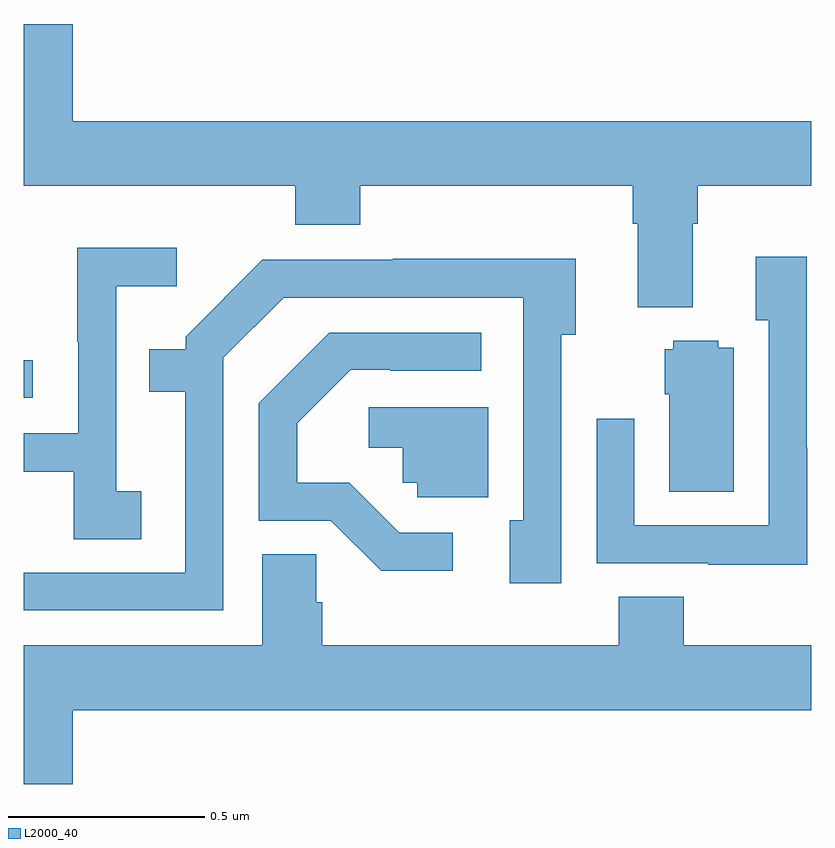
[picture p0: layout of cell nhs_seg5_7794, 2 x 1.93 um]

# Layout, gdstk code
import gdstk
lib = gdstk.Library(unit=1e-6, precision=1e-09)
def R(c, l, rs):  # rectangles x0, y0, x1, y1
    for r in rs: c.add(gdstk.rectangle(r[:2], r[2:], *l))
def P(c, l, *ps):  # polygons
    for p in ps: c.add(gdstk.Polygon(p, *l))
L2000_40 = (2000, 40)

nhs_seg5_7794 = lib.new_cell('nhs_seg5_7794')
R(nhs_seg5_7794, L2000_40, [(213,894.849,213.022,894.945)])
P(nhs_seg5_7794, L2000_40, [(214.699,895.292),(214.712,895.292),(214.712,895.388),(215,895.388),(215,895.552),(213.124,895.552),(213.124,895.799),(213,895.799),(213,895.388),(213.689,895.388),(213.689,895.289),(213.854,895.289),(213.854,895.388),(214.547,895.388),(214.547,895.292),(214.559,895.292),(214.559,895.079),(214.699,895.079)],
  [(213.298,894.612),(213.234,894.612),(213.234,895.133),(213.388,895.133),(213.388,895.231),(213.136,895.231),(213.136,894.992),(213.138,894.992),(213.138,894.759),(213,894.759),(213,894.661),(213.126,894.661),(213.126,894.49),(213.298,894.49)],
  [(214.99,894.722),(214.989,894.722),(214.989,895.207),(214.859,895.207),(214.859,895.046),(214.893,895.046),(214.893,894.525),(214.551,894.525),(214.551,894.796),(214.455,894.796),(214.455,894.429),(214.739,894.429),(214.739,894.425),(214.99,894.425)],
  [(213.507,894.951),(213.66,895.104),(214.269,895.104),(214.269,894.538),(214.235,894.538),(214.235,894.378),(214.365,894.378),(214.365,895.01),(214.402,895.01),(214.402,895.202),(213.937,895.202),(213.937,895.2),(213.606,895.2),(213.411,895.005),(213.411,894.973),(213.319,894.973),(213.319,894.864),(213.41,894.864),(213.41,894.405),(213,894.405),(213,894.309),(213.507,894.309)],
  [(214.09,894.507),(213.954,894.507),(213.827,894.634),(213.694,894.634),(213.694,894.784),(213.831,894.921),(213.931,894.921),(213.931,894.918),(214.162,894.918),(214.162,895.014),(213.776,895.014),(213.597,894.835),(213.597,894.537),(213.78,894.537),(213.908,894.41),(214.09,894.41)],
  [(214.804,894.976),(214.764,894.976),(214.764,894.994),(214.65,894.994),(214.65,894.972),(214.628,894.972),(214.628,894.858),(214.64,894.858),(214.64,894.61),(214.804,894.61)],
  [(214.18,894.825),(213.876,894.825),(213.876,894.722),(213.963,894.722),(213.963,894.633),(213.999,894.633),(213.999,894.597),(214.18,894.597)],
  [(213.124,894.056),(215,894.056),(215,894.22),(214.676,894.22),(214.676,894.344),(214.511,894.344),(214.511,894.22),(213.758,894.22),(213.758,894.33),(213.743,894.33),(213.743,894.452),(213.605,894.452),(213.605,894.22),(213,894.22),(213,893.868),(213.124,893.868)])

lib.write_gds('nhs_seg5_7794.gds')
